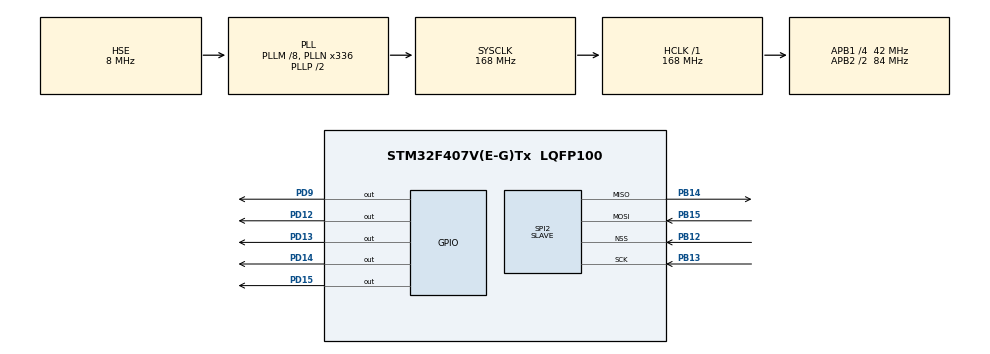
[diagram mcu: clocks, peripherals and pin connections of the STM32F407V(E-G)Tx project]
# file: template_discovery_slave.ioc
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Mcu.Family=STM32F4
RCC.PLLSourceVirtual=RCC_PLLSOURCE_HSE
PC15-OSC32_OUT.Mode=LSE-External-Oscillator
PH0-OSC_IN.Signal=RCC_OSC_IN
SPI2.VirtualNSS=VM_NSSHARD
RCC.CortexFreq_Value=168000000
SPI2.VirtualType=VM_SLAVE
PD9.Signal=GPIO_Output
RCC.APB1CLKDivider=RCC_HCLK_DIV4
PC14-OSC32_IN.Signal=RCC_OSC32_IN
PB13.Signal=SPI2_SCK
PB15.Signal=SPI2_MOSI
RCC.SYSCLKSource=RCC_SYSCLKSOURCE_PLLCLK
ProjectManager.StackSize=0x400
PA13.Signal=SYS_JTMS-SWDIO
PD13.Signal=GPIO_Output
ProjectManager.TargetToolchain=STM32CubeIDE
PB14.GPIO_Speed=GPIO_SPEED_FREQ_LOW
RCC.HCLKFreq_Value=168000000
RCC.APB2TimFreq_Value=168000000
PB13.GPIO_Speed=GPIO_SPEED_FREQ_LOW
PC15-OSC32_OUT.Signal=RCC_OSC32_OUT
RCC.AHBFreq_Value=168000000
PB12.GPIO_Speed=GPIO_SPEED_FREQ_LOW
PH0-OSC_IN.Mode=HSE-External-Oscillator
PB14.Signal=SPI2_MISO
RCC.HSE_VALUE=8000000
board=custom
RCC.VCOOutputFreq_Value=336000000
PB15.Mode=Full_Duplex_Slave
RCC.APB2Freq_Value=84000000
PC14-OSC32_IN.Mode=LSE-External-Oscillator
PA14.Mode=Serial_Wire
PB14.Mode=Full_Duplex_Slave
PB15.GPIO_Speed=GPIO_SPEED_FREQ_LOW
PH1-OSC_OUT.Signal=RCC_OSC_OUT
NVIC.SPI2_IRQn=true\:0\:0\:false\:false\:true\:true\:true
PA13.Mode=Serial_Wire
Mcu.Name=STM32F407V(E-G)Tx
PD14.Signal=GPIO_Output
PH1-OSC_OUT.Mode=HSE-External-Oscillator
RCC.48MHZClocksFreq_Value=84000000
RCC.SYSCLKFreq_VALUE=168000000
Mcu.Package=LQFP100
PB12.Mode=NSS_Signal_Hard_Input
SPI2.Mode=SPI_MODE_SLAVE
PD12.Signal=GPIO_Output
PA14.Signal=SYS_JTCK-SWCLK
ProjectManager.HeapSize=0x200
RCC.HSI_VALUE=16000000
NVIC.PriorityGroup=NVIC_PRIORITYGROUP_4
RCC.APB2CLKDivider=RCC_HCLK_DIV2
RCC.PLLM=8
RCC.PLLN=336
RCC.APB1TimFreq_Value=84000000
SPI2.DataSize=SPI_DATASIZE_8BIT
SPI2.Direction=SPI_DIRECTION_2LINES
PB13.Mode=Full_Duplex_Slave
RCC.APB1Freq_Value=42000000
PD15.Signal=GPIO_Output
SPI2.TIMode=SPI_TIMODE_DISABLE
PB12.Signal=SPI2_NSS

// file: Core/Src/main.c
/* USER CODE BEGIN Header */
/**
  ******************************************************************************
  * @file           : main.c
  * @brief          : Main program body
  ******************************************************************************
  * @attention
  *
  * <h2><center>&copy; Copyright (c) 2021 STMicroelectronics.
  * All rights reserved.</center></h2>
  *
  * This software component is licensed by ST under BSD 3-Clause license,
  * the "License"; You may not use this file except in compliance with the
  * License. You may obtain a copy of the License at:
  *                        opensource.org/licenses/BSD-3-Clause
  *
  ******************************************************************************
  */
/* USER CODE END Header */
#include "main.h"
#include "spi.h"
#include "gpio.h"

/* USER CODE BEGIN PV */

uint8_t SPI_TX = 0; // flag: whether it is time to transmit

extern int dataReady;
extern uint32_t readyToSend;
extern uint8_t bufferRX[RX_BUFFER_SIZE];
extern uint8_t bufferTX[TX_BUFFER_SIZE];
extern uint8_t idX;
extern uint8_t idxRX;
extern uint8_t idxTX;
extern uint8_t nBytesTX;

/* USER CODE END PV */

void SystemClock_Config(void);

int main(void)
{

  /* MCU Configuration--------------------------------------------------------*/

  /* Reset of all peripherals, Initializes the Flash interface and the Systick. */
  HAL_Init();

  /* Configure the system clock */
  SystemClock_Config();

  /* Initialize all configured peripherals */
  MX_GPIO_Init();
  MX_SPI2_Init();
  /* USER CODE BEGIN 2 */

  if (HAL_SYSTICK_Config(SystemCoreClock / (1000U / uwTickFreq)) > 0U)
  {
    return HAL_ERROR;
  }

  //LL_SPI_EnableIT_RXNE(SPI2);
  LL_SPI_Enable(SPI2);
  // no LL_SPI_EnableIT_RXNE(SPI2);
  // no LL_SPI_DisableIT_TXE(SPI2);
  // no LL_SPI_EnableIT_TXE(SPI2);

  bufferTX[0] = 1;
  bufferTX[1] = 2;
  bufferTX[2] = 3;
  bufferTX[3] = 4;
  bufferTX[4] = 5;
  /* USER CODE END 2 */

  /* Infinite loop */
  /* USER CODE BEGIN WHILE */
  while (1)
  {
	  if(SPI_TX)
      {
		  SPI_TX = 0;
		  LL_SPI_EnableIT_TXE(SPI2);
		  //LL_SPI_TransmitData8(SPI2, progr_num);
    	 // while(!LL_SPI_IsActiveFlag_TXE(SPI2));
    	 // progr_num++;
      }

    /* USER CODE END WHILE */

  }
}

void SystemClock_Config(void)
{
  RCC_OscInitTypeDef RCC_OscInitStruct = {0};
  RCC_ClkInitTypeDef RCC_ClkInitStruct = {0};

  /** Configure the main internal regulator output voltage
  */
  __HAL_RCC_PWR_CLK_ENABLE();
  __HAL_PWR_VOLTAGESCALING_CONFIG(PWR_REGULATOR_VOLTAGE_SCALE1);
  /** Initializes the RCC Oscillators according to the specified parameters
  * in the RCC_OscInitTypeDef structure.
  */
  RCC_OscInitStruct.OscillatorType = RCC_OSCILLATORTYPE_HSE;
  RCC_OscInitStruct.HSEState = RCC_HSE_ON;
  RCC_OscInitStruct.PLL.PLLState = RCC_PLL_ON;
  RCC_OscInitStruct.PLL.PLLSource = RCC_PLLSOURCE_HSE;
  RCC_OscInitStruct.PLL.PLLM = 8;
  RCC_OscInitStruct.PLL.PLLN = 336;
  RCC_OscInitStruct.PLL.PLLP = RCC_PLLP_DIV2;
  RCC_OscInitStruct.PLL.PLLQ = 4;
  if (HAL_RCC_OscConfig(&RCC_OscInitStruct) != HAL_OK)
  {
    Error_Handler();
  }
  /** Initializes the CPU, AHB and APB buses clocks
  */
  RCC_ClkInitStruct.ClockType = RCC_CLOCKTYPE_HCLK|RCC_CLOCKTYPE_SYSCLK
                              |RCC_CLOCKTYPE_PCLK1|RCC_CLOCKTYPE_PCLK2;
  RCC_ClkInitStruct.SYSCLKSource = RCC_SYSCLKSOURCE_PLLCLK;
  RCC_ClkInitStruct.AHBCLKDivider = RCC_SYSCLK_DIV1;
  RCC_ClkInitStruct.APB1CLKDivider = RCC_HCLK_DIV4;
  RCC_ClkInitStruct.APB2CLKDivider = RCC_HCLK_DIV2;

  if (HAL_RCC_ClockConfig(&RCC_ClkInitStruct, FLASH_LATENCY_5) != HAL_OK)
  {
    Error_Handler();
  }
}

/* USER CODE BEGIN 4 */

/*
 * This function finds the maximum value in an array and returns its index in the array.
 * @param 	a[]		array to find maximum
 * @param 	n 		size of the array
 * @return 	index 	array index of maximum value in array
 */

/* USER CODE END 4 */

void Error_Handler(void)
{
  __disable_irq();
  while (1)
  {
  }
}

/************************ (C) COPYRIGHT STMicroelectronics *****END OF FILE****/
